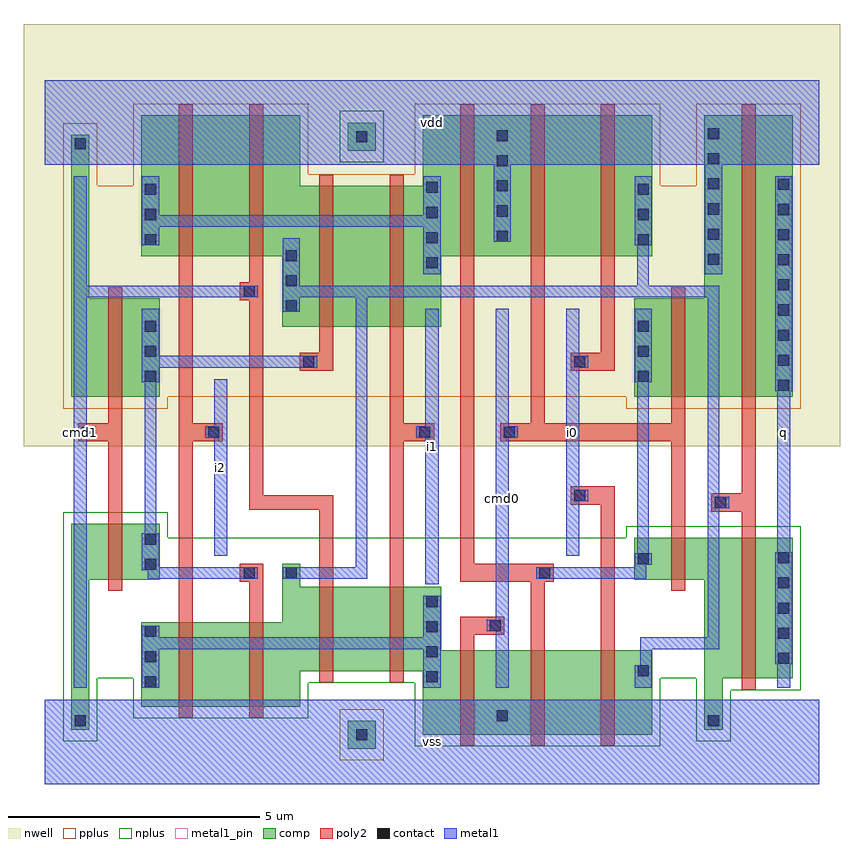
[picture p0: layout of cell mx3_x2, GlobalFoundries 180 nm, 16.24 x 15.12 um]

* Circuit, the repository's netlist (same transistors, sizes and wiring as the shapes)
* mx3_x2
.subckt mx3_x2 vdd vss q cmd0 cmd1 i0 i1 i2
Mp_net3_1 _net5 _net3 _net6 vdd pfet_03v3 l=0.28um w=2.8um
Mn_net3_1 _net9 _net3 _net5 vss nfet_03v3 l=0.28um w=1.68um
Mn_net4_1 vss _net4 _net7 vss nfet_03v3 l=0.28um w=1.68um
Mp_net4_1 _net0 _net4 vdd vdd pfet_03v3 l=0.28um w=2.8um
Mp_net5_1 vdd _net5 q vdd pfet_03v3 l=0.28um w=5.6um
Mn_net5_1 vss _net5 q vss nfet_03v3 l=0.28um w=2.8um
Mp_cmd0_1 _net4 cmd0 vdd vdd pfet_03v3 l=0.28um w=1.96um
Mn_cmd0_1 _net4 cmd0 vss vss nfet_03v3 l=0.28um w=0.84um
Mn_cmd0_2 _net1 cmd0 vss vss nfet_03v3 l=0.28um w=1.68um
Mp_cmd0_2 vdd cmd0 _net2 vdd pfet_03v3 l=0.28um w=2.8um
Mn_cmd1_2 _net5 cmd1 _net10 vss nfet_03v3 l=0.28um w=1.68um
Mn_cmd1_1 vss cmd1 _net3 vss nfet_03v3 l=0.28um w=1.12um
Mp_cmd1_1 vdd cmd1 _net3 vdd pfet_03v3 l=0.28um w=1.96um
Mp_cmd1_2 _net8 cmd1 _net5 vdd pfet_03v3 l=0.28um w=2.8um
Mn_i0_1 _net7 i0 _net5 vss nfet_03v3 l=0.28um w=1.68um
Mp_i0_1 _net2 i0 _net5 vdd pfet_03v3 l=0.28um w=2.8um
Mp_i1_1 _net6 i1 _net0 vdd pfet_03v3 l=0.28um w=2.8um
Mn_i1_1 _net10 i1 _net1 vss nfet_03v3 l=0.28um w=1.68um
Mp_i2_1 _net0 i2 _net8 vdd pfet_03v3 l=0.28um w=2.8um
Mn_i2_1 _net1 i2 _net9 vss nfet_03v3 l=0.28um w=1.68um
.ends mx3_x2

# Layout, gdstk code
import gdstk
lib = gdstk.Library(unit=1e-6, precision=1e-09)
def R(c, l, rs):  # rectangles x0, y0, x1, y1
    for r in rs: c.add(gdstk.rectangle(r[:2], r[2:], *l))
def A(c, l, x, y, w, h, nx, ny, dx, dy):  # array of equal rectangles
    R(c, l, [(x+i*dx, y+j*dy, x+i*dx+w, y+j*dy+h) for i in range(nx) for j in range(ny)])
def P(c, l, *ps):  # polygons
    for p in ps: c.add(gdstk.Polygon(p, *l))
nwell = (21, 0)
comp = (22, 0)
poly2 = (30, 0)
pplus = (31, 0)
nplus = (32, 0)
contact = (33, 0)
metal1 = (34, 0)
metal1_pin = (34, 10)

mx3_x2 = lib.new_cell('mx3_x2')
R(mx3_x2, nwell, [(-0.42,6.72,15.82,15.12)])
R(mx3_x2, comp, [(6.02,0.7,6.58,1.26), (6.02,12.6,6.58,13.16)])
P(mx3_x2, comp, [(7.52,0.98),(7.52,2.24),(5.08,2.24),(5.08,1.54),(1.92,1.54),(1.92,3.22),(4.72,3.22),(4.72,4.38),(5.08,4.38),(5.08,3.92),(7.88,3.92),(7.88,2.66),(12.08,2.66),(12.08,0.98)],
  [(4.72,9.1),(4.72,10.5),(1.92,10.5),(1.92,13.3),(5.08,13.3),(5.08,11.9),(7.52,11.9),(7.52,13.3),(12.08,13.3),(12.08,10.5),(7.88,10.5),(7.88,9.1)],
  [(11.72,7.7),(11.72,9.66),(13.12,9.66),(13.12,13.3),(14.88,13.3),(14.88,7.7)],
  [(0.52,7.7),(0.52,12.92),(0.88,12.92),(0.88,9.66),(2.28,9.66),(2.28,7.7)],
  [(0.52,1.08),(0.52,5.18),(2.28,5.18),(2.28,4.06),(0.88,4.06),(0.88,1.08)],
  [(13.12,1.08),(13.12,4.06),(11.72,4.06),(11.72,4.9),(14.88,4.9),(14.88,2.1),(13.48,2.1),(13.48,1.08)])
P(mx3_x2, poly2, [(13.86,1.88),(13.86,5.42),(13.26,5.42),(13.26,5.78),(13.86,5.78),(13.86,13.52),(14.14,13.52),(14.14,1.88)],
  [(5.07,8.22),(5.07,8.58),(5.46,8.58),(5.46,12.12),(5.74,12.12),(5.74,8.22)],
  [(4.06,1.32),(4.06,4.02),(3.88,4.02),(3.88,4.38),(4.34,4.38),(4.34,1.32)],
  [(9.66,0.76),(9.66,4.02),(8.26,4.02),(8.26,13.52),(8.54,13.52),(8.54,4.38),(10.12,4.38),(10.12,4.02),(9.94,4.02),(9.94,0.76)],
  [(8.26,0.76),(8.26,3.33),(9.14,3.33),(9.14,2.97),(8.54,2.97),(8.54,0.76)],
  [(12.46,3.84),(12.46,6.82),(9.06,6.82),(9.06,7.18),(9.66,7.18),(9.66,13.52),(9.94,13.52),(9.94,7.18),(12.46,7.18),(12.46,9.88),(12.74,9.88),(12.74,3.84)],
  [(1.26,3.84),(1.26,6.82),(0.66,6.82),(0.66,7.18),(1.26,7.18),(1.26,9.88),(1.54,9.88),(1.54,3.84)],
  [(5.46,2.02),(5.46,5.46),(4.06,5.46),(4.06,9.62),(3.88,9.62),(3.88,9.98),(4.06,9.98),(4.06,13.52),(4.34,13.52),(4.34,5.74),(5.74,5.74),(5.74,2.02)],
  [(11.06,0.76),(11.06,5.56),(10.46,5.56),(10.46,5.92),(11.34,5.92),(11.34,0.76)],
  [(10.46,8.22),(10.46,8.58),(11.06,8.58),(11.06,13.52),(11.34,13.52),(11.34,8.22)],
  [(6.86,2.02),(6.86,12.12),(7.14,12.12),(7.14,7.18),(7.74,7.18),(7.74,6.82),(7.14,6.82),(7.14,2.02)],
  [(2.66,1.32),(2.66,13.52),(2.94,13.52),(2.94,7.18),(3.54,7.18),(3.54,6.82),(2.94,6.82),(2.94,1.32)])
R(mx3_x2, pplus, [(5.86,0.47,6.74,1.49)])
P(mx3_x2, pplus, [(0.36,7.47),(0.36,13.15),(1.04,13.15),(1.04,11.9),(1.76,11.9),(1.76,13.53),(5.24,13.53),(5.24,12.13),(7.36,12.13),(7.36,13.53),(12.24,13.53),(12.24,11.9),(12.96,11.9),(12.96,13.53),(15.04,13.53),(15.04,7.47),(11.56,7.47),(11.56,7.7),(2.44,7.7),(2.44,7.47)])
R(mx3_x2, nplus, [(5.86,12.37,6.74,13.39)])
P(mx3_x2, nplus, [(7.36,0.75),(7.36,2.01),(5.24,2.01),(5.24,1.31),(1.76,1.31),(1.76,2.1),(1.04,2.1),(1.04,0.85),(0.36,0.85),(0.36,5.41),(2.44,5.41),(2.44,4.9),(11.56,4.9),(11.56,5.13),(15.04,5.13),(15.04,1.87),(13.64,1.87),(13.64,0.85),(12.96,0.85),(12.96,2.1),(12.24,2.1),(12.24,0.75)])
A(mx3_x2, contact, 1.99, 1.925, 0.22, 0.22, 1, 3, 0, 0.5)
A(mx3_x2, contact, 7.59, 2.02, 0.22, 0.22, 1, 4, 0, 0.5)
A(mx3_x2, contact, 14.59, 2.39, 0.22, 0.22, 1, 5, 0, 0.5)
A(mx3_x2, contact, 14.59, 7.82, 0.22, 0.22, 1, 9, 0, 0.5)
A(mx3_x2, contact, 1.99, 8, 0.22, 0.22, 1, 3, 0, 0.5)
A(mx3_x2, contact, 11.79, 8, 0.22, 0.22, 1, 3, 0, 0.5)
A(mx3_x2, contact, 4.79, 9.4, 0.22, 0.22, 1, 3, 0, 0.5)
A(mx3_x2, contact, 7.59, 10.26, 0.22, 0.22, 1, 4, 0, 0.5)
A(mx3_x2, contact, 13.19, 10.33, 0.22, 0.22, 1, 6, 0, 0.5)
A(mx3_x2, contact, 1.99, 10.72, 0.22, 0.22, 1, 3, 0, 0.5)
A(mx3_x2, contact, 11.79, 10.72, 0.22, 0.22, 1, 3, 0, 0.5)
A(mx3_x2, contact, 8.99, 10.79, 0.22, 0.22, 1, 5, 0, 0.5)
R(mx3_x2, contact, [(6.19,0.87,6.41,1.09), (0.59,1.15,0.81,1.37), (13.19,1.15,13.41,1.37), (8.99,1.25,9.21,1.47), (11.79,2.14,12.01,2.36), (8.85,3.04,9.07,3.26), (3.95,4.09,4.17,4.31), (4.79,4.09,5.01,4.31), (9.83,4.09,10.05,4.31), (1.99,4.26,2.21,4.48), (11.79,4.37,12.01,4.59), (1.99,4.76,2.21,4.98), (13.33,5.49,13.55,5.71), (10.53,5.63,10.75,5.85), (0.73,6.89,0.95,7.11), (3.25,6.89,3.47,7.11), (7.45,6.89,7.67,7.11), (9.13,6.89,9.35,7.11), (5.14,8.29,5.36,8.51), (10.53,8.29,10.75,8.51), (3.95,9.69,4.17,9.91), (0.59,12.63,0.81,12.85), (6.19,12.77,6.41,12.99)])
R(mx3_x2, metal1, [(0,0,15.4,1.68)])
P(mx3_x2, metal1, [(11.73,1.91),(11.73,2.365),(11.84,2.365),(11.84,2.915),(13.185,2.915),(13.185,9.685),(6.415,9.685),(6.415,4.085),(4.73,4.085),(4.73,4.315),(6.185,4.315),(6.185,9.685),(5.07,9.685),(5.07,9.395),(4.73,9.395),(4.73,10.855),(5.07,10.855),(5.07,9.915),(11.785,9.915),(11.785,10.715),(11.73,10.715),(11.73,12.09),(12.07,12.09),(12.07,10.715),(12.015,10.715),(12.015,9.915),(13.415,9.915),(13.415,5.715),(13.61,5.715),(13.61,5.485),(13.415,5.485),(13.415,2.685),(12.07,2.685),(12.07,1.91)],
  [(13.13,10.145),(13.13,12.32),(9.27,12.32),(9.27,10.785),(8.93,10.785),(8.93,12.32),(0,12.32),(0,14),(15.4,14),(15.4,12.32),(13.47,12.32),(13.47,10.145)],
  [(2.04,4.085),(2.04,4.255),(1.93,4.255),(1.93,4.985),(1.985,4.985),(1.985,7.995),(1.93,7.995),(1.93,9.455),(2.27,9.455),(2.27,8.515),(5.42,8.515),(5.42,8.285),(2.27,8.285),(2.27,7.995),(2.215,7.995),(2.215,4.985),(2.27,4.985),(2.27,4.315),(4.23,4.315),(4.23,4.085)],
  [(9.77,4.085),(9.77,4.315),(11.73,4.315),(11.73,4.595),(11.785,4.595),(11.785,7.995),(11.73,7.995),(11.73,9.455),(12.07,9.455),(12.07,7.995),(12.015,7.995),(12.015,4.595),(12.07,4.595),(12.07,4.365),(11.96,4.365),(11.96,4.085)],
  [(7.53,10.145),(7.53,11.085),(2.27,11.085),(2.27,10.715),(1.93,10.715),(1.93,12.09),(2.27,12.09),(2.27,11.315),(7.53,11.315),(7.53,12.09),(7.87,12.09),(7.87,10.145)],
  [(14.57,1.91),(14.57,2.385),(14.53,2.385),(14.53,4.615),(14.57,4.615),(14.57,7.815),(14.53,7.815),(14.53,12.09),(14.87,12.09),(14.87,7.815),(14.83,7.815),(14.83,4.615),(14.87,4.615),(14.87,2.385),(14.83,2.385),(14.83,1.91)],
  [(8.97,1.91),(8.97,3.035),(8.79,3.035),(8.79,3.265),(8.97,3.265),(8.97,9.455),(9.23,9.455),(9.23,7.115),(9.41,7.115),(9.41,6.885),(9.23,6.885),(9.23,1.91)],
  [(1.93,1.91),(1.93,3.15),(2.27,3.15),(2.27,2.915),(7.53,2.915),(7.53,3.745),(7.87,3.745),(7.87,1.91),(7.53,1.91),(7.53,2.685),(2.27,2.685),(2.27,1.91)],
  [(0.57,1.91),(0.57,12.09),(0.83,12.09),(0.83,9.915),(4.23,9.915),(4.23,9.685),(0.83,9.685),(0.83,7.115),(1.01,7.115),(1.01,6.885),(0.83,6.885),(0.83,1.91)],
  [(10.37,4.545),(10.37,9.455),(10.63,9.455),(10.63,8.515),(10.81,8.515),(10.81,8.285),(10.63,8.285),(10.63,5.855),(10.81,5.855),(10.81,5.625),(10.63,5.625),(10.63,4.545)],
  [(7.57,3.975),(7.57,6.885),(7.39,6.885),(7.39,7.115),(7.57,7.115),(7.57,9.455),(7.83,9.455),(7.83,3.975)],
  [(3.37,4.545),(3.37,6.885),(3.19,6.885),(3.19,7.115),(3.37,7.115),(3.37,8.055),(3.63,8.055),(3.63,4.545)])
R(mx3_x2, metal1_pin, [(0,0,15.4,1.68), (0.57,1.91,0.83,12.09), (8.97,1.91,9.23,9.455), (14.57,1.91,14.83,12.09), (7.57,3.975,7.83,9.455), (3.37,4.545,3.63,8.055), (10.37,4.545,10.63,9.455), (0,12.32,15.4,14)])
mx3_x2.add(gdstk.Label('vdd', (7.7,13.16), layer=34, texttype=10))
mx3_x2.add(gdstk.Label('vss', (7.7,0.84), layer=34, texttype=10))
mx3_x2.add(gdstk.Label('q', (14.7,7), layer=34, texttype=10))
mx3_x2.add(gdstk.Label('cmd0', (9.1,5.683), layer=34, texttype=10))
mx3_x2.add(gdstk.Label('cmd1', (0.7,7), layer=34, texttype=10))
mx3_x2.add(gdstk.Label('i0', (10.5,7), layer=34, texttype=10))
mx3_x2.add(gdstk.Label('i1', (7.7,6.715), layer=34, texttype=10))
mx3_x2.add(gdstk.Label('i2', (3.5,6.3), layer=34, texttype=10))

lib.write_gds('mx3_x2.gds')
